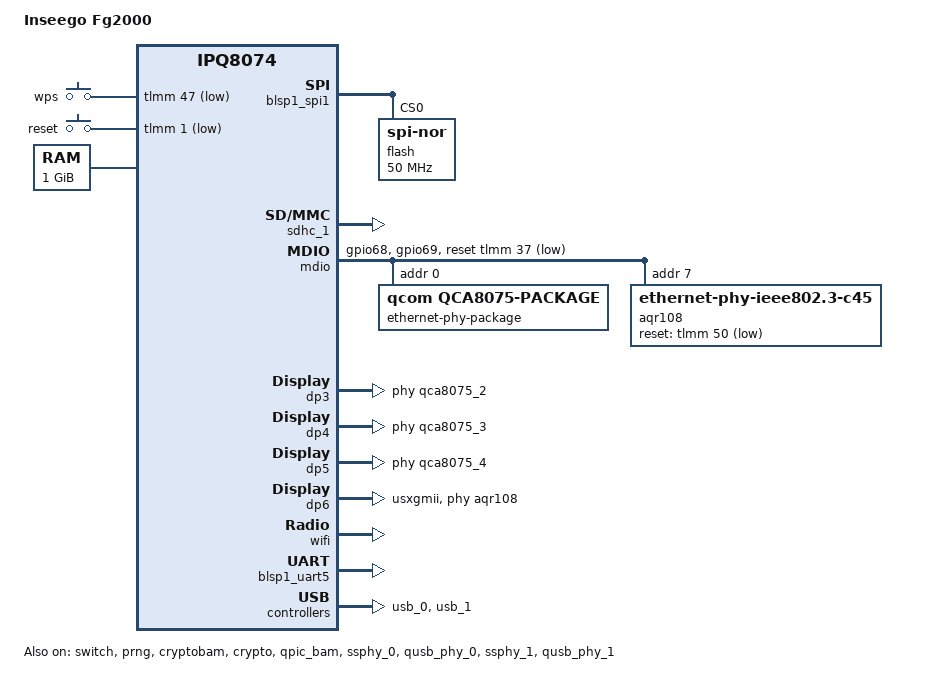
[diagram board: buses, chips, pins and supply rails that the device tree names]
// SPDX-License-Identifier: GPL-2.0-or-later OR MIT
/dts-v1/;
#include "ipq8074.dtsi"
#include "ipq8074-hk-cpu.dtsi"
#include "ipq8074-ess.dtsi"
#include <dt-bindings/gpio/gpio.h>
#include <dt-bindings/input/input.h>
#include <dt-bindings/leds/common.h>
/ {
	model = "Inseego Fg2000";
	compatible = "inseego,fg2000", "qcom,ipq8074";
	aliases {
		serial0 = &blsp1_uart5;
		ethernet0 =  &dp1;
		ethernet1 =  &dp2;
		ethernet2 =  &dp3;
		ethernet3 =  &dp4;
		ethernet4 =  &dp5;
		ethernet5 =  &dp6;
		label-mac-device = &dp3;
	};
	chosen {
		stdout-path = "serial0:115200n8";
		bootargs-append = " swiotlb=1 coherent_pool=2M";
	};
	keys {
		compatible = "gpio-keys";
		pinctrl-0 = <&button_pins>;
		pinctrl-names = "default";
		wps-button {
			label = "wps";
			gpios = <&tlmm 47 GPIO_ACTIVE_LOW>;
			linux,code = <KEY_WPS_BUTTON>;
		};
		reset-button {
			label = "reset";
			gpios = <&tlmm 1 GPIO_ACTIVE_LOW>;
			linux,code = <KEY_RESTART>;
		};
	};
	memory {
		device_type = "memory";
		reg = <0x00 0x40000000 0x00 0x40000000>;
	};
};
&tlmm {
	mdio_pins: mdio-state {
		mdc-pins {
			pins = "gpio68";
			function = "mdc";
			drive-strength = <8>;
			bias-disable;
		};
		mdio-pins {
			pins = "gpio69";
			function = "mdio";
			drive-strength = <8>;
			bias-pull-up;
		};
	};
	button_pins: button-state {
		wps-pins {
			pins = "gpio47";
			function = "gpio";
			drive-strength = <8>;
			bias-pull-up;
		};
		rst-pins {
			pins = "gpio1";
			function = "gpio";
			drive-strength = <8>;
			bias-pull-up;
		};
	};
	// pcie_sdx_gpio {
	// 	ap2mdm_err_ftl {
	// 		pins = "gpio27";
	// 		function = "gpio";
	// 		drive-strength = <8>;
	// 		bias-pull-down;
	// 	};
	// 	sdx_pon_gpio {
	// 		pins = "gpio5";
	// 		function = "gpio";
	// 		drive-strength = <8>;
	// 		bias-pull-up;
	// 		output-high;
	// 	};
	// };
	// ap2mdm_status {
	// 	pins = "gpio26";
	// 	function = "gpio";
	// 	drive-strength = <8>;
	// 	bias-pull-up;
	// 	output-high;
	// };
	// mdm2ap_e911_status {
	// 	pins = "gpio33";
	// 	drive-strength = <8>;
	// 	bias-pull-down;
	// };
	// pcie0_wake_gpio {
	// 	pins = "gpio59";
	// 	function = "pcie0_wake";
	// 	drive-strength = <8>;
	// 	bias-pull-up;
	// };
	// uart_pins {
	// 	linux,phandle = <0x0d>;
	// 	phandle = <0x0d>;
	// 	mux {
	// 		pins = "gpio23\0gpio24";
	// 		function = "blsp4_uart1";
	// 		drive-strength = <8>;
	// 		bias-pull-up;
	// 	};
	// };
	// spi_0_pins {
	// 	mux {
	// 		pins = "gpio38\0gpio39\0gpio40\0gpio41";
	// 		function = "blsp0_spi";
	// 		drive-strength = <8>;
	// 		bias-pull-up;
	// 	};
	// };
	// pwm_pinmux {
	// 	mux_1 {
	// 		pins = "gpio63";
	// 		function = "pwm01";
	// 		drive-strength = <8>;
	// 	};
	// };
	// fan_en_gpio {
	// 	mux {
	// 		pins = "gpio8";
	// 		function = "gpio";
	// 		drive-strength = <8>;
	// 		bias-pull-up;
	// 	};
	// };
};
&blsp1_spi1 { 
	pinctrl-0 = <&spi_0_pins>;
	pinctrl-names = "default";
	cs-gpios = <0>;
	status = "okay";
	flash@0 {
		#address-cells = <1>;
		#size-cells = <1>;
		reg = <0>;
		compatible = "jedec,spi-nor";
		spi-max-frequency = <50000000>;
		partitions {
			compatible = "qcom,smem-part";
		};
	};
};
&sdhc_1 {
	status = "okay";
	vqmmc-supply = <&l11>;
};
&mdio {
	status = "okay";
	pinctrl-0 = <&mdio_pins>;
	pinctrl-names = "default";
	reset-gpios = <&tlmm 37 GPIO_ACTIVE_LOW>;
	ethernet-phy-package@0 {
		#address-cells = <1>;
		#size-cells = <0>;
		compatible = "qcom,qca8075-package";
		reg = <0>;
		qcom,package-mode = "psgmii";
		qca8075_0: ethernet-phy@0 {
			compatible = "ethernet-phy-ieee802.3-c22";
			reg = <0>;
		};
		qca8075_1: ethernet-phy@1 {
			compatible = "ethernet-phy-ieee802.3-c22";
			reg = <1>;
		};
		qca8075_2: ethernet-phy@2 {
			compatible = "ethernet-phy-ieee802.3-c22";
			reg = <2>;
		};
		qca8075_3: ethernet-phy@3 {
			compatible = "ethernet-phy-ieee802.3-c22";
			reg = <3>;
		};
		qca8075_4: ethernet-phy@4 {
			compatible = "ethernet-phy-ieee802.3-c22";
			reg = <4>;
		};
	};
	aqr108: ethernet-phy@7 {
		compatible ="ethernet-phy-ieee802.3-c45";
		reg = <7>;
		reset-gpios = <&tlmm 50 GPIO_ACTIVE_LOW>;
	};
};
&dp1 {
	status = "disabled";
	phy-handle = <&qca8075_0>;
};
&dp2 {
	status = "disabled";
	phy-handle = <&qca8075_1>;
};
&dp3 {
	status = "okay";
	phy-handle = <&qca8075_2>;
	label = "wan";
};
&dp4 {
	status = "okay";
	phy-handle = <&qca8075_3>;
	label = "lan1";
};
&dp5 {
	status = "okay";
	phy-handle = <&qca8075_4>;
	label = "lan2";
};
&dp6 {
	status = "okay";
	phy-mode = "usxgmii";
	phy-handle = <&aqr108>;
	label = "lan3";
};
&switch {
	status = "okay";
	switch_lan_bmp = <(ESS_PORT4| ESS_PORT5 | ESS_PORT6)>;
	switch_wan_bmp = <ESS_PORT3>;
	switch_mac_mode = <0>;
	switch_mac_mode1 = <255>;
	switch_mac_mode2 = <13>;
	qcom,port_phyinfo {
		port@3 {
			port_id = <3>;
			phy_address = <2>;
		};
		port@4 {
			port_id = <4>;
			phy_address = <3>;
		};
		port@5 {
			port_id = <5>;
			phy_address = <4>;
		};
		port@6 {
			port_id = <6>;
			phy_address = <7>;
			compatible = "ethernet-phy-ieee802.3-c45";
			ethernet-phy-ieee802.3-c45;
		};
	};
};
&wifi {
	//compatible = "qcom,ipq8074-wifi";
	status = "okay";
	qcom,ath11k-calibration-variant = "Inseego-FG2000";
};
&blsp1_uart5 {
	status = "okay";
};
&prng {
	status = "okay";
};
&cryptobam {
	status = "okay";
};
&crypto {
	status = "okay";
};
&qpic_bam {
	status = "okay";
};
&edma {
	status = "okay";
};
&ssphy_0 {
	status = "okay";
};
&qusb_phy_0 {
	status = "okay";
};
&usb_0 {
	status = "okay";
};
&ssphy_1 {
	status = "okay";
};
&qusb_phy_1 {
	status = "okay";
};
&usb_1 {
	status = "okay";
};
